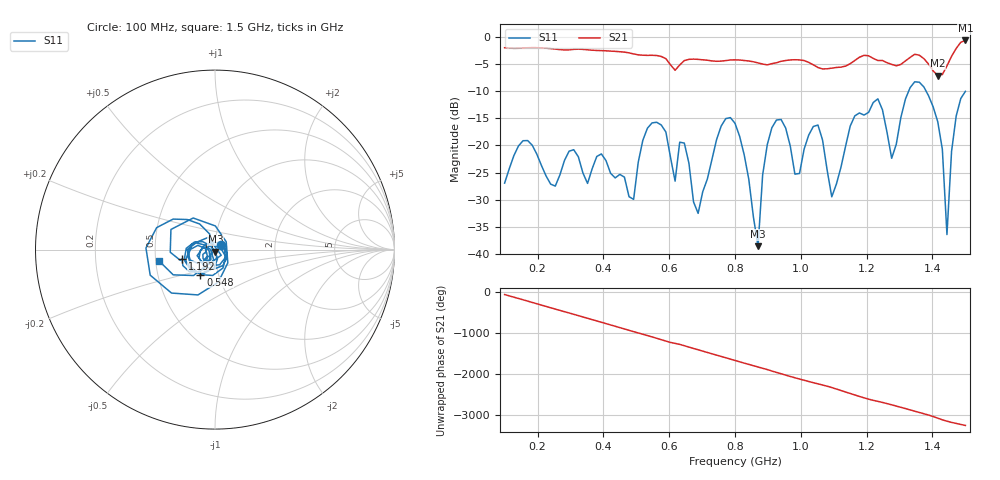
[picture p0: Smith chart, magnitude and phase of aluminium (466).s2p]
! NanoVNA-App
! Date: 2025-09-25 14:58:54
! Start: 100MHz Stop: 1,5GHz Points: 101
! S-Parameter data: F S11 S21 S12 S22
# Hz S RI R 50
!  Frequency  S11_Real  S11_Imag  S21_Real  S21_Imag  S12_Real  S12_Imag  S22_Real  S22_Imag
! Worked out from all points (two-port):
!   101 points, 100 MHz to 1.5 GHz, reference 50 ohm
!   highest |S21| = -0.57 dB at 1.5 GHz (marker M1); lowest = -7.1 dB at 1.416 GHz (marker M2)
!   |S21| within 3 dB of the highest: start of sweep to 577.2 MHz; 1.457 GHz to end of sweep (the widest 2 of 4)
!   lowest |S11| = -38.6 dB at 870 MHz (marker M3), VSWR 1.02, Z = 50.2 - j1.16 ohm
!   |S11| at or under -10 dB: start of sweep to 1.327 GHz; 1.381 GHz to 1.5 GHz (118.8 MHz wide, 8.25 % of centre)
!   S12 and S22 are empty: the file has one direction only
!   S11 on the Smith chart (normalised r, x): 100 MHz: 1.07, +0.06; 548 MHz: 0.82, -0.23; 1.192 GHz: 0.69, -0.07; 1.5 GHz: 0.52, -0.08
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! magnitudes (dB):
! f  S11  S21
! 100 MHz  -27.0  -1.9
! 156 MHz  -19.1  -2.0
! 338 MHz  -25.1  -2.2
! 492 MHz  -30.0  -3.1
! 548 MHz  -15.8  -3.3
! 576 MHz  -16.2  -3.5
! 646 MHz  -19.6  -4.3
! 688 MHz  -32.5  -4.1
! 800 MHz  -15.9  -4.2
! 870 MHz  -38.6  -4.7
! 912 MHz  -16.7  -4.9
! 982 MHz  -25.3  -4.1
! 1.038 GHz  -16.5  -5.1
! 1.094 GHz  -29.5  -5.7
! 1.192 GHz  -14.4  -3.3
! 1.234 GHz  -11.4  -4.3
! 1.276 GHz  -22.4  -5.0
! 1.346 GHz  -8.2  -3.1
! 1.416 GHz  -15.6  -7.1
! 1.444 GHz  -36.5  -5.3
! 1.458 GHz  -21.1  -3.5
! 1.5 GHz  -10.0  -0.6
